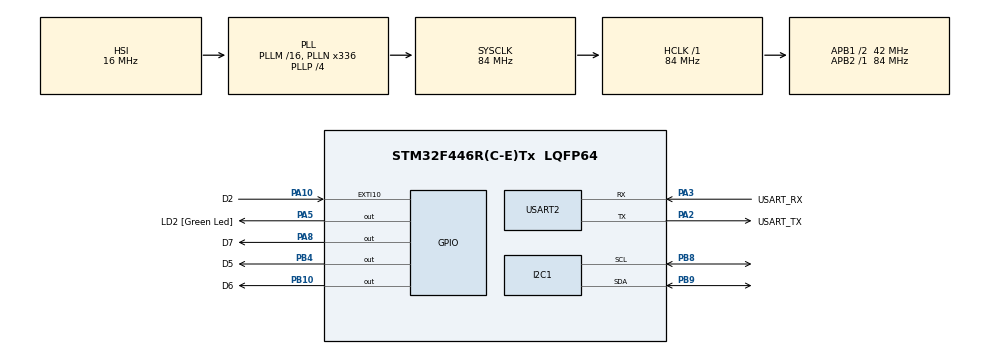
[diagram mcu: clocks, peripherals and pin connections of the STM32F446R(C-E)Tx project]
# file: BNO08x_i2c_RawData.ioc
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Mcu.Family=STM32F4
Mcu.Name=STM32F446R(C-E)Tx
Mcu.Package=LQFP64
NVIC.PriorityGroup=NVIC_PRIORITYGROUP_0
PA10.GPIO_Label=D2
PA10.GPIO_ModeDefaultEXTI=GPIO_MODE_IT_FALLING
PA10.Signal=GPXTI10
PA13.GPIO_Label=TMS
PA13.Mode=Serial_Wire
PA13.Signal=SYS_JTMS-SWDIO
PA14.GPIO_Label=TCK
PA14.Mode=Serial_Wire
PA14.Signal=SYS_JTCK-SWCLK
PA2.GPIO_Label=USART_TX
PA2.Mode=Asynchronous
PA2.Signal=USART2_TX
PA3.GPIO_Label=USART_RX
PA3.Mode=Asynchronous
PA3.Signal=USART2_RX
PA5.GPIO_Label=LD2 [Green Led]
PA5.Signal=GPIO_Output
PA8.GPIO_Label=D7
PA8.Signal=GPIO_Output
PB10.GPIO_Label=D6
PB10.Signal=GPIO_Output
PB3.GPIO_Label=SWO
PB3.Signal=SYS_JTDO-SWO
PB4.GPIO_Label=D5
PB4.Signal=GPIO_Output
PB8.Mode=I2C
PB8.Signal=I2C1_SCL
PB9.Mode=I2C
PB9.Signal=I2C1_SDA
PC14-OSC32_IN.Mode=LSE-External-Oscillator
PC14-OSC32_IN.Signal=RCC_OSC32_IN
PC15-OSC32_OUT.Mode=LSE-External-Oscillator
PC15-OSC32_OUT.Signal=RCC_OSC32_OUT
PH0-OSC_IN.Mode=HSE-External-Oscillator
PH0-OSC_IN.Signal=RCC_OSC_IN
PH1-OSC_OUT.Mode=HSE-External-Oscillator
PH1-OSC_OUT.Signal=RCC_OSC_OUT
ProjectManager.HeapSize=0x200
ProjectManager.StackSize=0x400
ProjectManager.TargetToolchain=STM32CubeIDE
RCC.48MHZClocksFreq_Value=84000000
RCC.AHBFreq_Value=84000000
RCC.APB1CLKDivider=RCC_HCLK_DIV2
RCC.APB1Freq_Value=42000000
RCC.APB1TimFreq_Value=84000000
RCC.APB2Freq_Value=84000000
RCC.APB2TimFreq_Value=84000000
RCC.CortexFreq_Value=84000000
RCC.FLatency-AdvancedSettings=FLASH_LATENCY_2
RCC.HCLKFreq_Value=84000000
RCC.HSE_VALUE=8000000
RCC.HSI_VALUE=16000000
RCC.PLLN=336
RCC.PLLP=RCC_PLLP_DIV4
RCC.SYSCLKFreq_VALUE=84000000
RCC.SYSCLKSource=RCC_SYSCLKSOURCE_PLLCLK
RCC.USBFreq_Value=168000000
RCC.VCOOutputFreq_Value=336000000
USART2.VirtualMode=VM_ASYNC
board=NUCLEO-F446RE

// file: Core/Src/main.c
/* USER CODE BEGIN Header */
/**
  ******************************************************************************
  * @file           : main.c
  * @brief          : Main program body
  ******************************************************************************
  * @attention
  *
  * Copyright (c) 2026 STMicroelectronics.
  * All rights reserved.
  *
  * This software is licensed under terms that can be found in the LICENSE file
  * in the root directory of this software component.
  * If no LICENSE file comes with this software, it is provided AS-IS.
  *
  ******************************************************************************
  */
/* USER CODE END Header */
#include "main.h"

/* USER CODE BEGIN Includes */
#include <stdio.h>
#include <string.h>
/* USER CODE END Includes */

I2C_HandleTypeDef hi2c1;

UART_HandleTypeDef huart2;

void SystemClock_Config(void);
static void MX_GPIO_Init(void);
static void MX_USART2_UART_Init(void);
static void MX_I2C1_Init(void);

/* USER CODE BEGIN 0 */
/* ==================== CONFIGURACIÓN BNO08X ==================== */

#define BNO08X_I2C_ADDR 0x4A // Dirección I2C (SA0 = GND)

// Pines del sensor
#define BNO08X_RST_Pin   D7_Pin
#define BNO08X_RST_Port  D7_GPIO_Port
#define BNO08X_PS1_Pin   D6_Pin
#define BNO08X_PS1_Port  D6_GPIO_Port
#define BNO08X_PS0_Pin   D5_Pin
#define BNO08X_PS0_Port  D5_GPIO_Port
#define BNO08X_INT_Pin   D2_Pin
#define BNO08X_INT_Port  D2_GPIO_Port

// Buffers y banderas
uint8_t buf[256];
volatile uint8_t sensor_data_ready = 0;
volatile uint8_t i2c_error = 0;

// Report IDs (BNO08X - según datasheet CEVA SHTP)
#define SHTP_REPORT_COMMAND_RESPONSE    0xF1
#define SHTP_REPORT_BASE_ACCEL          0x04  // Accelerometer
#define SHTP_REPORT_BASE_GYRO           0x05  // Gyroscope
#define SHTP_REPORT_BASE_MAG            0x06  // Magnetometer

// Escalas de conversión (BNO085/086 según datasheet)
// Acelerómetro: ±8g, 12-bit → ~4mg/LSB @ ±8g
#define ACC_SCALE (4.0f / 1000.0f) * 9.81f  // m/s² (4mg/LSB * 9.81/1000)
// Giroscopio: ±2000°/s, 16-bit → ~61 LSB/°/s
#define GYR_SCALE (1.0f / 16.4f)  // °/s (1/16.4 °/s per LSB)

/* Prototipos de funciones */
void BNO08X_Init(void);
void BNO08X_SetFeature(uint8_t report_id, uint16_t interval_ms);
void BNO08X_ReadSensorData(void);
HAL_StatusTypeDef BNO08X_SendCommand(uint8_t *data, uint16_t len);
HAL_StatusTypeDef BNO08X_ReadData(uint8_t *data, uint16_t *len);

void BNO08X_Init(void)
{
  // Según datasheet: PS1=0, PS0=0 para modo I2C (ver Figura 1-5)
  // El datasheet dice: "These pins should be tied to ground to select the I2C interface"
  HAL_GPIO_WritePin(BNO08X_PS0_Port, BNO08X_PS0_Pin, GPIO_PIN_RESET);  // LOW
  HAL_GPIO_WritePin(BNO08X_PS1_Port, BNO08X_PS1_Pin, GPIO_PIN_RESET);  // LOW
  HAL_Delay(10);

  HAL_UART_Transmit(&huart2, (uint8_t*)"PS pins configured for I2C\r\n", 28, HAL_MAX_DELAY);
  HAL_Delay(100);

  // Reset del BNO08X (NRST es active low)
  HAL_GPIO_WritePin(BNO08X_RST_Port, BNO08X_RST_Pin, GPIO_PIN_RESET);  // Reset assert
  HAL_Delay(100);
  HAL_GPIO_WritePin(BNO08X_RST_Port, BNO08X_RST_Pin, GPIO_PIN_SET);    // Reset deassert
  HAL_Delay(500); // Esperar a que el sensor inicie completamente

  HAL_UART_Transmit(&huart2, (uint8_t*)"BNO08x Reset Complete\r\n", 24, HAL_MAX_DELAY);
}

/* Simple I2C bus scanner: prints found 7-bit addresses over UART */
void I2C_Scan(void)
{
  char msg[80];
  int found = 0;
  HAL_UART_Transmit(&huart2, (uint8_t*)"Starting I2C bus scan...\r\n", 24, HAL_MAX_DELAY);
  for (uint8_t addr = 1; addr < 127; addr++) {
    if (HAL_I2C_IsDeviceReady(&hi2c1, (uint16_t)(addr << 1), 1, 10) == HAL_OK) {
      int l = sprintf(msg, "I2C device found at 0x%02X\r\n", addr);
      HAL_UART_Transmit(&huart2, (uint8_t*)msg, l, HAL_MAX_DELAY);
      found++;
    }
  }
  if (!found) {
    HAL_UART_Transmit(&huart2, (uint8_t*)"No I2C devices found\r\n", 23, HAL_MAX_DELAY);
  } else {
    int l = sprintf(msg, "I2C scan complete (%d devices)\r\n", found);
    HAL_UART_Transmit(&huart2, (uint8_t*)msg, l, HAL_MAX_DELAY);
  }
}

HAL_StatusTypeDef BNO08X_SendCommand(uint8_t *data, uint16_t len)
{
  char msg[50];
  int msg_len = sprintf(msg, "Sending I2C cmd (%d bytes)...\r\n", len);
  HAL_UART_Transmit(&huart2, (uint8_t*)msg, msg_len, HAL_MAX_DELAY);
  // Esperar a que H_INT se asevere (activo bajo) como hacen las librerías Arduino
  // Si no responde, hacer reset del dispositivo
  int wait_ok = 0;
  for (int i = 0; i < 500; i++) { // 500 ms timeout
    if (HAL_GPIO_ReadPin(BNO08X_INT_Port, BNO08X_INT_Pin) == GPIO_PIN_RESET) { wait_ok = 1; break; }
    HAL_Delay(1);
  }
  if (!wait_ok) {
    HAL_UART_Transmit(&huart2, (uint8_t*)"H_INT timeout before TX, resetting BNO08x\r\n", 39, HAL_MAX_DELAY);
    HAL_GPIO_WritePin(BNO08X_RST_Port, BNO08X_RST_Pin, GPIO_PIN_RESET);
    HAL_Delay(10);
    HAL_GPIO_WritePin(BNO08X_RST_Port, BNO08X_RST_Pin, GPIO_PIN_SET);
    HAL_Delay(300);
    return HAL_ERROR;
  }

  HAL_StatusTypeDef ret = HAL_I2C_Master_Transmit(&hi2c1, BNO08X_I2C_ADDR << 1, data, len, 1000);
  if(ret != HAL_OK) {
    i2c_error = 1;
    char err_msg[60];
    int err_len = sprintf(err_msg, "I2C TX Error: 0x%02X\r\n", ret);
    HAL_UART_Transmit(&huart2, (uint8_t*)err_msg, err_len, HAL_MAX_DELAY);
    return ret;
  }
  HAL_UART_Transmit(&huart2, (uint8_t*)"I2C TX OK\r\n", 11, HAL_MAX_DELAY);
  HAL_Delay(20);
  return ret;
}

HAL_StatusTypeDef BNO08X_ReadData(uint8_t *data, uint16_t *len)
{
    uint8_t header[4];
    HAL_StatusTypeDef ret;

    // Esperar H_INT (activo bajo) antes de leer, como en la librería Arduino
    int wait_ok = 0;
    for (int i = 0; i < 500; i++) { // 500 ms
      if (HAL_GPIO_ReadPin(BNO08X_INT_Port, BNO08X_INT_Pin) == GPIO_PIN_RESET) { wait_ok = 1; break; }
      HAL_Delay(1);
    }
    if (!wait_ok) {
      HAL_UART_Transmit(&huart2, (uint8_t*)"H_INT timeout before RX header\r\n", 30, HAL_MAX_DELAY);
      return HAL_ERROR;
    }

    // Leer header (4 bytes)
    ret = HAL_I2C_Master_Receive(&hi2c1, BNO08X_I2C_ADDR << 1, header, 4, 1000);
    if(ret != HAL_OK) {
        i2c_error = 1;
        HAL_UART_Transmit(&huart2, (uint8_t*)"I2C RX Header Error\r\n", 21, HAL_MAX_DELAY);
        return ret;
    }

    // Parsear longitud del payload (bytes 2 y 3)
    *len = ((uint16_t)header[2] | ((uint16_t)header[3] << 8)) & 0x0FFF;

    if(*len > 0 && *len <= 255) {
        // Leer payload
        ret = HAL_I2C_Master_Receive(&hi2c1, BNO08X_I2C_ADDR << 1, data, *len, 100);
        if(ret != HAL_OK) {
            i2c_error = 1;
            HAL_UART_Transmit(&huart2, (uint8_t*)"I2C RX Payload Error\r\n", 22, HAL_MAX_DELAY);
        }
    }

    return ret;
}

void BNO08X_SetFeature(uint8_t report_id, uint16_t interval_ms)
{
  char msg[60];
  int msg_len = sprintf(msg, "Setting feature 0x%02X, interval %dms\r\n", report_id, interval_ms);
  HAL_UART_Transmit(&huart2, (uint8_t*)msg, msg_len, HAL_MAX_DELAY);

  // Comando para habilitar reportes según SHTP protocol
  // Estructura: [longitud_payload, comando(0xFD), report_id, flags, sensibilidad, intervalo...]
  uint8_t cmd[21];
  uint16_t i = 0;

  // Byte 0: Longitud del payload (sin incluir este byte)
  cmd[i++] = 20;  // Los siguientes 20 bytes

    // Byte 1: Comando "Set Feature" = 0xFD
    cmd[i++] = 0xFD;

    // Byte 2: Report ID a habilitar
    cmd[i++] = report_id;

    // Byte 3: Feature flags (0 = sin cambios especiales)
    cmd[i++] = 0x00;

    // Byte 4: Change sensitivity (0 = no cambiar sensibilidad)
    cmd[i++] = 0x00;

    // Bytes 5-8: Reporting interval en microsegundos (little-endian)
    uint32_t interval_us = interval_ms * 1000;
    cmd[i++] = (interval_us) & 0xFF;
    cmd[i++] = (interval_us >> 8) & 0xFF;
    cmd[i++] = (interval_us >> 16) & 0xFF;
    cmd[i++] = (interval_us >> 24) & 0xFF;

    // Bytes 9-12: Batch interval (0 para no usar batching)
    cmd[i++] = 0x00;
    cmd[i++] = 0x00;
    cmd[i++] = 0x00;
    cmd[i++] = 0x00;

    // Bytes 13-20: Sensor-specific config (relleno con ceros)
    for(int j = 0; j < 8; j++) {
        cmd[i++] = 0x00;
    }

    if(BNO08X_SendCommand(cmd, i) == HAL_OK) {
        char msg[60];
        int len = sprintf((char*)msg, "Feature 0x%02X enabled (%dms)\r\n", report_id, interval_ms);
        HAL_UART_Transmit(&huart2, (uint8_t*)msg, len, HAL_MAX_DELAY);
    } else {
        HAL_UART_Transmit(&huart2, (uint8_t*)"Failed to enable feature\r\n", 26, HAL_MAX_DELAY);
    }
}

void BNO08X_ReadSensorData(void)
{
    uint8_t payload[256];
    uint16_t len = 0;
    int16_t accel_x, accel_y, accel_z;
    int16_t gyro_x, gyro_y, gyro_z;
    float ax, ay, az, gx, gy, gz;

    // Leer datos del sensor
    if(BNO08X_ReadData(payload, &len) != HAL_OK) {
        return;
    }

    if(len < 14) {
        return; // Datos insuficientes
    }

    // El primer byte es el report ID
    uint8_t report_id = payload[0];

    // Verificar si el reporte contiene datos válidos (byte 1 = status/flags)
    uint8_t status = payload[1];

    // Parsear aceleración (bytes 2-7, little-endian, formato Q14)
    // Para acelerómetro: X=bytes 2-3, Y=bytes 4-5, Z=bytes 6-7
    accel_x = (int16_t)(payload[2] | (payload[3] << 8));
    accel_y = (int16_t)(payload[4] | (payload[5] << 8));
    accel_z = (int16_t)(payload[6] | (payload[7] << 8));

    // Parsear giroscopio (bytes 8-13, little-endian, formato Q14)
    // Para giroscopio: X=bytes 8-9, Y=bytes 10-11, Z=bytes 12-13
    gyro_x = (int16_t)(payload[8] | (payload[9] << 8));
    gyro_y = (int16_t)(payload[10] | (payload[11] << 8));
    gyro_z = (int16_t)(payload[12] | (payload[13] << 8));

    // Convertir a unidades físicas
    // Formato Q14: dividir por 16384 (2^14) para obtener el valor real
    ax = (accel_x / 16384.0f) * 9.81f;  // Convertir a m/s²
    ay = (accel_y / 16384.0f) * 9.81f;
    az = (accel_z / 16384.0f) * 9.81f;

    gx = gyro_x / 16384.0f;  // Radianes/segundo
    gy = gyro_y / 16384.0f;
    gz = gyro_z / 16384.0f;

    int len_uart = sprintf((char*)buf,
        "ID:0x%02X | ACC(g)=%.3f,%.3f,%.3f | GYR(rad/s)=%.4f,%.4f,%.4f\r\n",
        report_id,
        ax/9.81f, ay/9.81f, az/9.81f,  // Mostrar en g también
        gx, gy, gz);
    HAL_UART_Transmit(&huart2, buf, len_uart, HAL_MAX_DELAY);
}

/* USER CODE END 0 */

int main(void)
{

  /* MCU Configuration--------------------------------------------------------*/

  /* Reset of all peripherals, Initializes the Flash interface and the Systick. */
  HAL_Init();

  /* Configure the system clock */
  SystemClock_Config();

  /* Initialize all configured peripherals */
  MX_GPIO_Init();
  MX_USART2_UART_Init();
  HAL_UART_Transmit(&huart2, (uint8_t*)"[A] MX_USART2_UART_Init OK\r\n", 26, HAL_MAX_DELAY);
  MX_I2C1_Init();
  HAL_UART_Transmit(&huart2, (uint8_t*)"[B] MX_I2C1_Init OK\r\n", 23, HAL_MAX_DELAY);
  HAL_Delay(50);

  // Print reset reason flags
  uint32_t reset_flags = RCC->CSR;
  char rst_msg[128];
  int rst_len = 0;
  rst_len = sprintf(rst_msg, "Reset CSR=0x%08lX\r\n", reset_flags);
  HAL_UART_Transmit(&huart2, (uint8_t*)rst_msg, rst_len, HAL_MAX_DELAY);
  // Clear reset flags so subsequent boots report fresh
  __HAL_RCC_CLEAR_RESET_FLAGS();
  /* USER CODE BEGIN 2 */

  HAL_UART_Transmit(&huart2, (uint8_t*)"=== BNO08X IMU Sensor Test ===\r\n", 33, HAL_MAX_DELAY);
  HAL_Delay(500);

  HAL_UART_Transmit(&huart2, (uint8_t*)"[1] Calling BNO08X_Init()...\r\n", 30, HAL_MAX_DELAY);
  BNO08X_Init();
  HAL_UART_Transmit(&huart2, (uint8_t*)"[2] BNO08X_Init() completed\r\n", 30, HAL_MAX_DELAY);

  HAL_Delay(1000);
  /* Run I2C scan after configuring PS pins and resetting the sensor */
  I2C_Scan();
  HAL_Delay(100);

  HAL_UART_Transmit(&huart2, (uint8_t*)"[3] Setting ACCEL feature...\r\n", 31, HAL_MAX_DELAY);
  BNO08X_SetFeature(SHTP_REPORT_BASE_ACCEL, 20);
  HAL_Delay(200);

  HAL_UART_Transmit(&huart2, (uint8_t*)"[4] Setting GYRO feature...\r\n", 30, HAL_MAX_DELAY);
  BNO08X_SetFeature(SHTP_REPORT_BASE_GYRO, 20);
  HAL_Delay(200);

  HAL_UART_Transmit(&huart2, (uint8_t*)"[5] Ready to read data...\r\n", 27, HAL_MAX_DELAY);

  /* USER CODE END 2 */

  /* Infinite loop */
  while (1)
  {

    /* USER CODE BEGIN 3 */
    HAL_GPIO_TogglePin(LD2_GPIO_Port, LD2_Pin); // Solo para ver que MCU corre
    HAL_Delay(100); // pausa para no saturar el LED

    // Verificar si hay datos del sensor listos
    if(sensor_data_ready)
    {
        sensor_data_ready = 0;       // reset flag
        BNO08X_ReadSensorData();     // enviar datos por UART aquí
    }

  }
  /* USER CODE END 3 */
}

void SystemClock_Config(void)
{
  RCC_OscInitTypeDef RCC_OscInitStruct = {0};
  RCC_ClkInitTypeDef RCC_ClkInitStruct = {0};

  /** Configure the main internal regulator output voltage
  */
  __HAL_RCC_PWR_CLK_ENABLE();
  __HAL_PWR_VOLTAGESCALING_CONFIG(PWR_REGULATOR_VOLTAGE_SCALE3);

  /** Initializes the RCC Oscillators according to the specified parameters
  * in the RCC_OscInitTypeDef structure.
  */
  RCC_OscInitStruct.OscillatorType = RCC_OSCILLATORTYPE_HSI;
  RCC_OscInitStruct.HSIState = RCC_HSI_ON;
  RCC_OscInitStruct.HSICalibrationValue = RCC_HSICALIBRATION_DEFAULT;
  RCC_OscInitStruct.PLL.PLLState = RCC_PLL_ON;
  RCC_OscInitStruct.PLL.PLLSource = RCC_PLLSOURCE_HSI;
  RCC_OscInitStruct.PLL.PLLM = 16;
  RCC_OscInitStruct.PLL.PLLN = 336;
  RCC_OscInitStruct.PLL.PLLP = RCC_PLLP_DIV4;
  RCC_OscInitStruct.PLL.PLLQ = 2;
  RCC_OscInitStruct.PLL.PLLR = 2;
  if (HAL_RCC_OscConfig(&RCC_OscInitStruct) != HAL_OK)
  {
    Error_Handler();
  }

  /** Initializes the CPU, AHB and APB buses clocks
  */
  RCC_ClkInitStruct.ClockType = RCC_CLOCKTYPE_HCLK|RCC_CLOCKTYPE_SYSCLK
                              |RCC_CLOCKTYPE_PCLK1|RCC_CLOCKTYPE_PCLK2;
  RCC_ClkInitStruct.SYSCLKSource = RCC_SYSCLKSOURCE_PLLCLK;
  RCC_ClkInitStruct.AHBCLKDivider = RCC_SYSCLK_DIV1;
  RCC_ClkInitStruct.APB1CLKDivider = RCC_HCLK_DIV2;
  RCC_ClkInitStruct.APB2CLKDivider = RCC_HCLK_DIV1;

  if (HAL_RCC_ClockConfig(&RCC_ClkInitStruct, FLASH_LATENCY_2) != HAL_OK)
  {
    Error_Handler();
  }
}

static void MX_I2C1_Init(void)
{

  hi2c1.Instance = I2C1;
  hi2c1.Init.ClockSpeed = 100000;
  hi2c1.Init.DutyCycle = I2C_DUTYCYCLE_2;
  hi2c1.Init.OwnAddress1 = 0;
  hi2c1.Init.AddressingMode = I2C_ADDRESSINGMODE_7BIT;
  hi2c1.Init.DualAddressMode = I2C_DUALADDRESS_DISABLE;
  hi2c1.Init.OwnAddress2 = 0;
  hi2c1.Init.GeneralCallMode = I2C_GENERALCALL_DISABLE;
  hi2c1.Init.NoStretchMode = I2C_NOSTRETCH_DISABLE;
  if (HAL_I2C_Init(&hi2c1) != HAL_OK)
  {
    Error_Handler();
  }

}

static void MX_USART2_UART_Init(void)
{

  huart2.Instance = USART2;
  huart2.Init.BaudRate = 115200;
  huart2.Init.WordLength = UART_WORDLENGTH_8B;
  huart2.Init.StopBits = UART_STOPBITS_1;
  huart2.Init.Parity = UART_PARITY_NONE;
  huart2.Init.Mode = UART_MODE_TX_RX;
  huart2.Init.HwFlowCtl = UART_HWCONTROL_NONE;
  huart2.Init.OverSampling = UART_OVERSAMPLING_16;
  if (HAL_UART_Init(&huart2) != HAL_OK)
  {
    Error_Handler();
  }

}

static void MX_GPIO_Init(void)
{
  GPIO_InitTypeDef GPIO_InitStruct = {0};

  /* GPIO Ports Clock Enable */
  __HAL_RCC_GPIOC_CLK_ENABLE();
  __HAL_RCC_GPIOH_CLK_ENABLE();
  __HAL_RCC_GPIOA_CLK_ENABLE();
  __HAL_RCC_GPIOB_CLK_ENABLE();

  /*Configure GPIO pin Output Level */
  HAL_GPIO_WritePin(GPIOA, LD2_Pin|D7_Pin, GPIO_PIN_RESET);

  /*Configure GPIO pin Output Level */
  HAL_GPIO_WritePin(GPIOB, D6_Pin|D5_Pin, GPIO_PIN_RESET);

  /*Configure GPIO pins : LD2_Pin D7_Pin */
  GPIO_InitStruct.Pin = LD2_Pin|D7_Pin;
  GPIO_InitStruct.Mode = GPIO_MODE_OUTPUT_PP;
  GPIO_InitStruct.Pull = GPIO_NOPULL;
  GPIO_InitStruct.Speed = GPIO_SPEED_FREQ_LOW;
  HAL_GPIO_Init(GPIOA, &GPIO_InitStruct);

  /*Configure GPIO pins : D6_Pin D5_Pin */
  GPIO_InitStruct.Pin = D6_Pin|D5_Pin;
  GPIO_InitStruct.Mode = GPIO_MODE_OUTPUT_PP;
  GPIO_InitStruct.Pull = GPIO_NOPULL;
  GPIO_InitStruct.Speed = GPIO_SPEED_FREQ_LOW;
  HAL_GPIO_Init(GPIOB, &GPIO_InitStruct);

  /*Configure GPIO pin : D2_Pin */
  GPIO_InitStruct.Pin = D2_Pin;
  GPIO_InitStruct.Mode = GPIO_MODE_IT_FALLING;
  GPIO_InitStruct.Pull = GPIO_NOPULL;
  HAL_GPIO_Init(D2_GPIO_Port, &GPIO_InitStruct);

  /* USER CODE BEGIN MX_GPIO_Init_2 */

  /* Habilitar interrupción EXTI para D2 (PA10 en tu caso) */
  HAL_NVIC_SetPriority(EXTI15_10_IRQn, 5, 0);  // Prioridad 0, subprioridad 0
  HAL_NVIC_EnableIRQ(EXTI15_10_IRQn);

  /* USER CODE END MX_GPIO_Init_2 */
}

/* USER CODE BEGIN 4 */
void HAL_GPIO_EXTI_Callback(uint16_t GPIO_Pin)
{
    if(GPIO_Pin == BNO08X_INT_Pin)
    {
    	sensor_data_ready = 1;  // solo marcar que hay datos listos
    }
}

/* USER CODE END 4 */

void Error_Handler(void)
{
  __disable_irq();
  while (1)
  {
  }
}
